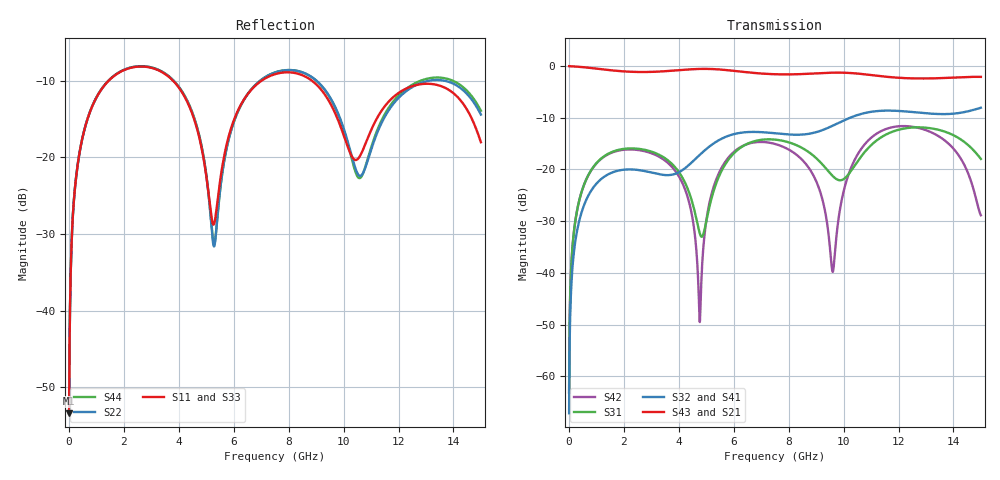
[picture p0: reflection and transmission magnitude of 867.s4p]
! Created with skrf 1.8.0 (http://scikit-rf.org).
# GHz S RI R 50.0
!freq ReS11 ImS11 ReS12 ImS12 ReS13 ImS13
! ReS14 ImS14
! ReS21 ImS21 ReS22 ImS22 ReS23 ImS23
! ReS24 ImS24
! ReS31 ImS31 ReS32 ImS32 ReS33 ImS33
! ReS34 ImS34
! ReS41 ImS41 ReS42 ImS42 ReS43 ImS43
! ReS44 ImS44
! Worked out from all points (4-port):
!   2499 points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, 5 MHz to 15 GHz, reference 50 ohm
!   strongest paths, dB at 5 MHz, 3.476 GHz, 7.19 GHz, 11.1 GHz, 15 GHz:
!     S43: 0.0, -1.0, -1.5, -1.8, -2.1
!     S21: 0.0, -1.0, -1.5, -1.8, -2.1
!     S32: -67.2, -21.1, -12.8, -8.8, -8.1
!     S41: -67.2, -21.1, -12.9, -8.8, -8.1
!     S31: -63.2, -17.8, -14.2, -14.8, -18.0
!     S42: -63.2, -18.2, -14.7, -13.5, -28.9
!   lowest |S11| = -53.4 dB at 5 MHz (marker M1), VSWR 1.00, Z = 50.2 + j0.13 ohm
!   |S11| at or under -10 dB: start of sweep to 1.442 GHz; 3.79 GHz to 7.01 GHz (3.219 GHz wide, 59.6 % of centre); 8.849 GHz to end of sweep
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0.005  0.0017 0.00129  0.9983 -0.00331  8.62e-05 0.000688  -8.36e-05 -0.00043
       0.9983 -0.00331  0.0017 0.00129  -8.36e-05 -0.00043  8.61e-05 0.000688
       8.62e-05 0.000688  -8.36e-05 -0.00043  0.0017 0.00129  0.9983 -0.00331
       -8.36e-05 -0.00043  8.61e-05 0.000688  0.9983 -0.00331  0.0017 0.00129
1.619545  0.2933 0.1673  0.4936 -0.7597  0.1411 0.0497  -0.0943 0.00312
          0.4936 -0.7597  0.2953 0.1658  -0.0944 0.00331  0.1351 0.0591
          0.1411 0.0497  -0.0944 0.00331  0.2932 0.1673  0.4935 -0.7597
          -0.0943 0.00312  0.1351 0.0591  0.4935 -0.7597  0.2954 0.1657
4.758233  0.0697 -0.1118  -0.8673 -0.3592  -0.0208 -0.0127  -0.0495 0.1289
          -0.8673 -0.3592  0.0617 -0.1195  -0.0476 0.1297  0.0034 0.000128
          -0.0208 -0.0127  -0.0476 0.1297  0.0699 -0.1126  -0.8671 -0.3592
          -0.0495 0.1289  0.0034 0.000128  -0.8671 -0.3592  0.0623 -0.1202
8.147145  0.3561 -0.0276  -0.00992 0.8318  0.1377 -0.1123  0.2076 -0.0567
          -0.00992 0.8318  0.3688 -0.0347  0.2079 -0.0626  0.1376 -0.0533
          0.1377 -0.1123  0.2079 -0.0626  0.354 -0.0244  -0.0092 0.8322
          0.2076 -0.0567  0.1376 -0.0533  -0.0092 0.8322  0.3686 -0.0381
9.604002  0.166 -0.1284  0.6342 0.5854  -0.06 -0.0622  0.1774 -0.197
          0.6342 0.5854  0.1665 -0.1581  0.1709 -0.2026  -0.00916 -0.00451
          -0.06 -0.0622  0.1709 -0.2026  0.1671 -0.1244  0.6357 0.5844
          0.1774 -0.197  -0.00916 -0.00451  0.6357 0.5844  0.1626 -0.1589
10.88579  0.1228 0.0546  0.8257 -0.0381  0.0234 0.1581  -0.0345 -0.355
          0.8257 -0.0381  0.0901 0.0342  -0.0443 -0.354  0.0727 0.1748
          0.0234 0.1581  -0.0443 -0.354  0.1243 0.0566  0.8252 -0.0409
          -0.0345 -0.355  0.0727 0.1748  0.8252 -0.0409  0.0903 0.0399
15  0.1083 -0.0637  -0.559 -0.5563  -0.0637 -0.1092  -0.2726 0.2845
    -0.559 -0.5563  0.1433 -0.1251  -0.2586 0.2993  0.036 0.00238
    -0.0637 -0.1092  -0.2586 0.2993  0.1241 -0.0631  -0.5577 -0.5545
    -0.2726 0.2845  0.036 0.00238  -0.5577 -0.5545  0.1457 -0.1393
